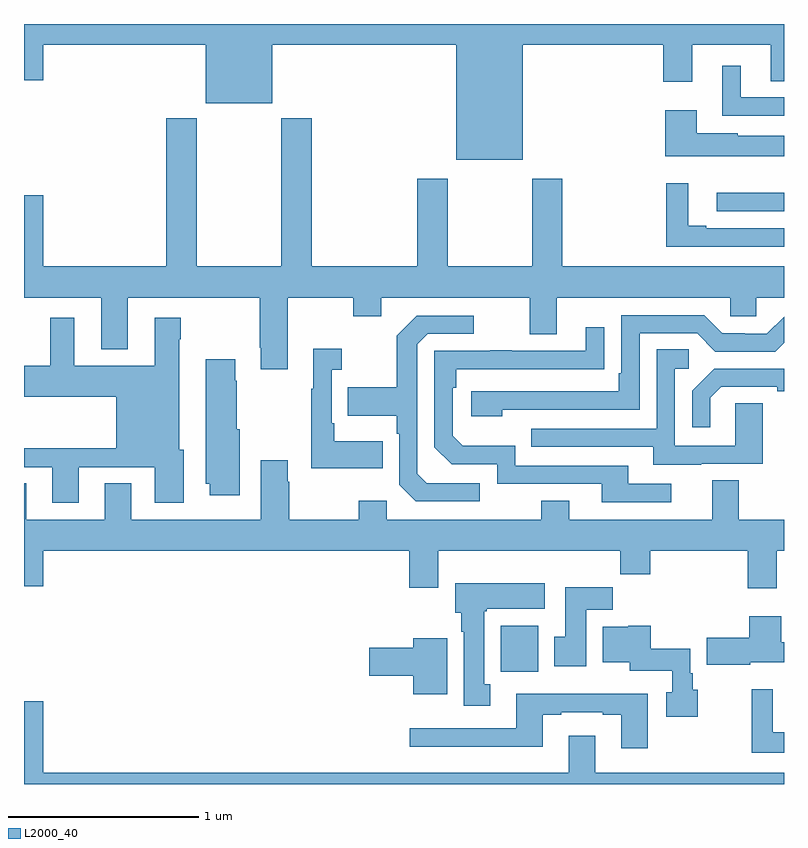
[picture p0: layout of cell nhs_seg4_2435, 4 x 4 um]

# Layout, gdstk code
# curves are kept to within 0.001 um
import gdstk
lib = gdstk.Library(unit=1e-6, precision=1e-09)
def R(c, l, rs):  # rectangles x0, y0, x1, y1
    for r in rs: c.add(gdstk.rectangle(r[:2], r[2:], *l))
def P(c, l, *ps):  # polygons
    for p in ps: c.add(gdstk.Polygon(p, *l))
L2000_40 = (2000, 40)

nhs_seg4_2435 = lib.new_cell('nhs_seg4_2435')
R(nhs_seg4_2435, L2000_40, [(239.51,821.492,239.707,821.734), (240.645,823.914,241,824.012)])
P(nhs_seg4_2435, L2000_40, [(239.626,824.792),(240.365,824.792),(240.365,824.595),(240.517,824.595),(240.517,824.792),(240.929,824.792),(240.929,824.599),(241,824.599),(241,824.9),(237,824.9),(237,824.604),(237.1,824.604),(237.1,824.792),(237.956,824.792),(237.956,824.483),(238.306,824.483),(238.306,824.792),(239.276,824.792),(239.276,824.186),(239.626,824.186)],
  [(241,824.514),(240.772,824.514),(240.772,824.68),(240.674,824.68),(240.674,824.418),(241,824.418)],
  [(241,824.311),(240.756,824.311),(240.756,824.326),(240.541,824.326),(240.541,824.446),(240.374,824.446),(240.374,824.204),(241,824.204)],
  [(237.909,824.404),(237.749,824.404),(237.749,823.624),(237.1,823.624),(237.1,823.999),(237,823.999),(237,823.46),(237.407,823.46),(237.407,823.187),(237.547,823.187),(237.547,823.46),(238.24,823.46),(238.24,823.195),(238.247,823.195),(238.247,823.083),(238.387,823.083),(238.387,823.46),(238.732,823.46),(238.732,823.361),(238.879,823.361),(238.879,823.46),(239.663,823.46),(239.663,823.266),(239.803,823.266),(239.803,823.46),(240.717,823.46),(240.717,823.362),(240.855,823.362),(240.855,823.46),(241,823.46),(241,823.624),(239.834,823.624),(239.834,824.086),(239.674,824.086),(239.674,823.624),(239.229,823.624),(239.229,824.086),(239.069,824.086),(239.069,823.624),(238.514,823.624),(238.514,824.404),(238.354,824.404),(238.354,823.624),(237.909,823.624)],
  [(241,823.824),(240.592,823.824),(240.592,823.837),(240.496,823.837),(240.496,824.062),(240.379,824.062),(240.379,823.728),(241,823.728)],
  [(239.516,822.87),(240.24,822.87),(240.24,823.272),(240.543,823.272),(240.639,823.176),(240.954,823.176),(241,823.222),(241,823.36),(240.909,823.269),(240.794,823.269),(240.794,823.272),(240.675,823.272),(240.579,823.368),(240.144,823.368),(240.144,823.063),(240.131,823.063),(240.131,822.966),(239.355,822.966),(239.355,822.836),(239.516,822.836)],
  [(239.398,822.483),(239.121,822.483),(239.07,822.534),(239.07,823.215),(239.124,823.269),(239.368,823.269),(239.368,823.365),(239.067,823.365),(238.962,823.259),(238.962,822.987),(238.705,822.987),(238.705,822.839),(238.962,822.839),(238.962,822.743),(238.974,822.743),(238.974,822.474),(239.061,822.387),(239.398,822.387)],
  [(237.289,822.567),(237.689,822.567),(237.689,822.381),(237.841,822.381),(237.841,822.66),(237.817,822.66),(237.817,823.241),(237.825,823.241),(237.825,823.354),(237.689,823.354),(237.689,823.102),(237.265,823.102),(237.265,823.354),(237.137,823.354),(237.137,823.102),(237,823.102),(237,822.938),(237.485,822.938),(237.485,822.668),(237,822.668),(237,822.567),(237.149,822.567),(237.149,822.381),(237.289,822.381)],
  [(240.406,822.48),(240.181,822.48),(240.181,822.576),(239.586,822.576),(239.586,822.679),(239.309,822.679),(239.256,822.732),(239.256,822.986),(239.276,822.986),(239.276,823.083),(240.053,823.084),(240.053,823.303),(239.957,823.303),(239.957,823.179),(239.567,823.179),(239.567,823.184),(239.455,823.184),(239.455,823.179),(239.16,823.179),(239.16,822.672),(239.25,822.582),(239.49,822.582),(239.49,822.48),(240.041,822.48),(240.041,822.384),(240.406,822.384)],
  [(238.889,822.703),(238.633,822.703),(238.633,822.799),(238.62,822.799),(238.62,823.079),(238.672,823.079),(238.672,823.192),(238.523,823.192),(238.523,822.979),(238.512,822.979),(238.512,822.563),(238.889,822.563)],
  [(240.565,822.585),(240.889,822.585),(240.889,822.905),(240.744,822.905),(240.744,822.681),(240.426,822.681),(240.426,823.086),(240.499,823.086),(240.499,823.187),(240.33,823.187),(240.33,822.771),(239.671,822.771),(239.671,822.675),(240.311,822.675),(240.311,822.581),(240.565,822.581)],
  [(238.135,822.768),(238.119,822.768),(238.119,823.022),(238.111,823.022),(238.111,823.135),(237.956,823.135),(237.956,822.48),(237.977,822.48),(237.977,822.42),(238.135,822.42)],
  [(240.613,822.933),(240.67,822.99),(240.965,822.99),(240.965,822.968),(241,822.968),(241,823.086),(240.632,823.086),(240.516,822.97),(240.516,822.777),(240.613,822.777)],
  [(240.961,822.128),(241,822.128),(241,822.292),(240.763,822.292),(240.763,822.5),(240.623,822.5),(240.623,822.292),(239.869,822.292),(239.869,822.391),(239.722,822.391),(239.722,822.292),(238.908,822.292),(238.908,822.391),(238.762,822.391),(238.762,822.292),(238.395,822.292),(238.395,822.491),(238.387,822.491),(238.387,822.604),(238.247,822.604),(238.247,822.292),(237.565,822.292),(237.565,822.482),(237.425,822.482),(237.425,822.292),(237.013,822.292),(237.013,822.482),(237,822.482),(237,821.94),(237.1,821.94),(237.1,822.128),(239.027,822.128),(239.027,821.934),(239.179,821.934),(239.179,822.128),(240.139,822.128),(240.139,822.004),(240.296,822.004),(240.296,822.128),(240.809,822.128),(240.809,821.931),(240.961,821.931)],
  [(239.455,821.426),(239.422,821.426),(239.422,821.809),(239.436,821.809),(239.436,821.822),(239.74,821.822),(239.74,821.956),(239.27,821.956),(239.27,821.802),(239.3,821.802),(239.3,821.702),(239.315,821.702),(239.315,821.313),(239.455,821.313)],
  [(239.959,821.816),(240.098,821.816),(240.098,821.935),(239.849,821.935),(239.849,821.676),(239.792,821.676),(239.792,821.52),(239.959,821.52)],
  [(240.822,821.54),(241,821.54),(241,821.647),(240.985,821.647),(240.985,821.782),(240.818,821.782),(240.818,821.67),(240.594,821.67),(240.594,821.528),(240.822,821.528)],
  [(240.546,821.396),(240.52,821.396),(240.52,821.484),(240.507,821.484),(240.507,821.612),(240.298,821.612),(240.298,821.734),(240.18,821.734),(240.18,821.728),(240.047,821.728),(240.047,821.54),(240.188,821.54),(240.188,821.496),(240.411,821.496),(240.411,821.383),(240.38,821.383),(240.38,821.254),(240.546,821.254)],
  [(239.227,821.668),(239.048,821.668),(239.048,821.618),(238.818,821.618),(238.818,821.471),(239.048,821.471),(239.048,821.372),(239.227,821.372)],
  [(241,821.173),(240.94,821.173),(240.94,821.398),(240.831,821.398),(240.831,821.064),(241,821.064)],
  [(240.283,821.374),(239.591,821.374),(239.591,821.193),(239.031,821.193),(239.031,821.096),(239.731,821.096),(239.731,821.265),(239.827,821.265),(239.827,821.277),(240.047,821.277),(240.047,821.265),(240.143,821.265),(240.143,821.088),(240.283,821.088)],
  [(241,820.96),(240.007,820.96),(240.007,821.155),(239.867,821.155),(239.867,820.96),(237.1,820.96),(237.1,821.335),(237,821.335),(237,820.9),(241,820.9)])

lib.write_gds('nhs_seg4_2435.gds')
